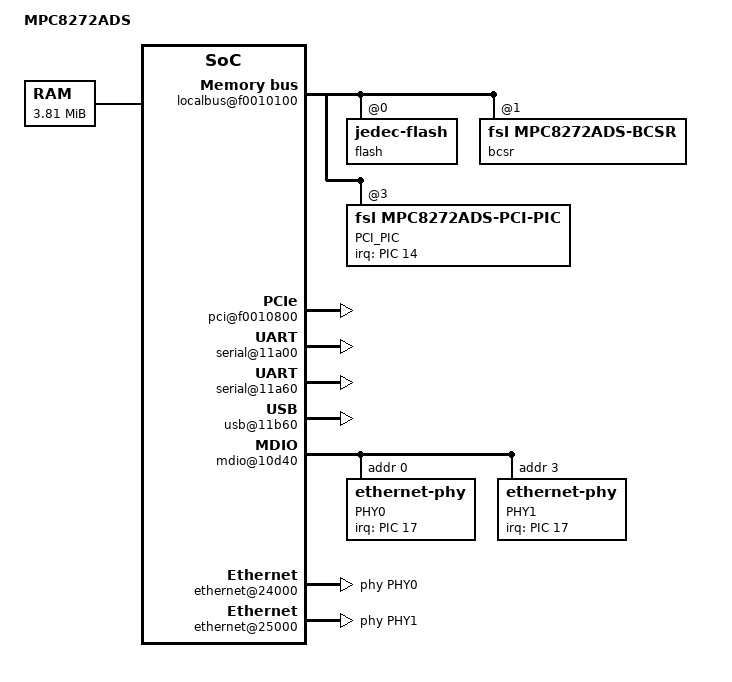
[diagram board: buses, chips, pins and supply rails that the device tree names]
/*
 * MPC8272 ADS Device Tree Source
 *
 * Copyright 2005 Freescale Semiconductor Inc.
 *
 * This program is free software; you can redistribute  it and/or modify it
 * under  the terms of  the GNU General  Public License as published by the
 * Free Software Foundation;  either version 2 of the  License, or (at your
 * option) any later version.
 */

/ {
	model = "MPC8272ADS";
	compatible = "fsl,mpc8272ads";
	#address-cells = <1>;
	#size-cells = <1>;

	cpus {
		#address-cells = <1>;
		#size-cells = <0>;

		PowerPC,8272@0 {
			device_type = "cpu";
			reg = <0>;
			d-cache-line-size = <d#32>;
			i-cache-line-size = <d#32>;
			d-cache-size = <d#16384>;
			i-cache-size = <d#16384>;
			timebase-frequency = <0>;
			bus-frequency = <0>;
			clock-frequency = <0>;
		};
	};

	localbus@f0010100 {
		compatible = "fsl,mpc8272-localbus",
		             "fsl,pq2-localbus";
		#address-cells = <2>;
		#size-cells = <1>;
		reg = <f0010100 40>;

		ranges = <0 0 ff800000 00800000
		          1 0 f4500000 00008000
		          3 0 f8200000 00008000>;

		flash@0,0 {
			compatible = "jedec-flash";
			reg = <0 0 800000>;
			bank-width = <4>;
			device-width = <1>;
			#address-cells = <1>;
			#size-cells = <1>;
			hrcw@0 {
				label = "HRCW";
				reg = <0 40000>;
				read-only;
			};
			user_fs@40000 {
				label = "User FS";
				reg = <40000 5c0000>;
			};
			uimage@600000 {
				label = "uImage";
				reg = <600000 100000>;
			};
			bootloader@700000 {
				label = "bootloader";
				reg = <700000 40000>;
				read-only;
			};
			bootloader_env@740000 {
				label = "bootloader env";
				reg = <740000 c0000>;
				read-only;
			};
		};

		bcsr@1,0 {
			reg = <1 0 20>;
			compatible = "fsl,mpc8272ads-bcsr";
		};

		PCI_PIC: interrupt-controller@3,0 {
			compatible = "fsl,mpc8272ads-pci-pic",
			             "fsl,pq2ads-pci-pic";
			#interrupt-cells = <1>;
			interrupt-controller;
			reg = <3 0 8>;
			interrupt-parent = <&PIC>;
			interrupts = <14 8>;
		};
	};

	memory {
		device_type = "memory";
		reg = <00000000 4000000>;
	};


	pci@f0010800 {
		device_type = "pci";
		reg = <f0010800 10c f00101ac 8 f00101c4 8>;
		compatible = "fsl,mpc8272-pci", "fsl,pq2-pci";
		#interrupt-cells = <1>;
		#size-cells = <2>;
		#address-cells = <3>;
		clock-frequency = <d#66666666>;
		interrupt-map-mask = <f800 0 0 7>;
		interrupt-map = <
		                 /* IDSEL 0x16 */
		                 b000 0 0 1 &PCI_PIC 0
		                 b000 0 0 2 &PCI_PIC 1
		                 b000 0 0 3 &PCI_PIC 2
		                 b000 0 0 4 &PCI_PIC 3

		                 /* IDSEL 0x17 */
		                 b800 0 0 1 &PCI_PIC 4
		                 b800 0 0 2 &PCI_PIC 5
		                 b800 0 0 3 &PCI_PIC 6
		                 b800 0 0 4 &PCI_PIC 7

		                 /* IDSEL 0x18 */
		                 c000 0 0 1 &PCI_PIC 8
		                 c000 0 0 2 &PCI_PIC 9
		                 c000 0 0 3 &PCI_PIC a
		                 c000 0 0 4 &PCI_PIC b>;

		interrupt-parent = <&PIC>;
		interrupts = <12 8>;
		ranges = <42000000 0 80000000 80000000 0 20000000
		          02000000 0 a0000000 a0000000 0 20000000
		          01000000 0 00000000 f6000000 0 02000000>;
	};

	soc@f0000000 {
		#address-cells = <1>;
		#size-cells = <1>;
		device_type = "soc";
		compatible = "fsl,mpc8272", "fsl,pq2-soc";
		ranges = <00000000 f0000000 00053000>;
		reg = <f0000000 10000>;
		bus-frequency = <0>;

		cpm@119c0 {
			#address-cells = <1>;
			#size-cells = <1>;
			device_type = "cpm";
			model = "CPM2";
			brg-frequency = <17D7840>;
			reg = <119c0 30 0 2000>;
			ranges;

			brg@119f0 {
				compatible = "fsl,mpc8272-brg",
				             "fsl,cpm2-brg",
				             "fsl,cpm-brg";
				reg = <119f0 10 115f0 10>;
			};

			serial@11a00 {
				device_type = "serial";
				compatible = "cpm_uart";
				model = "SCC";
				device-id = <1>;
				reg = <11a00 20 8000 100>;
				current-speed = <1c200>;
				interrupts = <28 8>;
				interrupt-parent = <&PIC>;
				clock-setup = <0 00ffffff>;
				rx-clock = <1>;
				tx-clock = <1>;
			};

			serial@11a60 {
				device_type = "serial";
				compatible = "cpm_uart";
				model = "SCC";
				device-id = <4>;
				reg = <11a60 20 8300 100>;
				current-speed = <1c200>;
				interrupts = <2b 8>;
				interrupt-parent = <&PIC>;
				clock-setup = <1b ffffff00>;
				rx-clock = <4>;
				tx-clock = <4>;
			};

			usb@11b60 {
				compatible = "fsl,mpc8272-usb";
				reg = <11b60 ca0 8b00 100>;
				interrupts = <b 8>;
				interrupt-parent = <&PIC>;
				fsl,cpm-brg = <8>;
				fsl,cpm-command = <2e600000>;
			};

			mdio@10d40 {
				device_type = "mdio";
				compatible = "fs_enet";
				reg = <0 1>;
				#address-cells = <1>;
				#size-cells = <0>;
				PHY0: ethernet-phy@0 {
					interrupt-parent = <&PIC>;
					interrupts = <17 4>;
					reg = <0>;
					bitbang = [ 12 12 13 02 02 01 ];
					device_type = "ethernet-phy";
				};

				PHY1: ethernet-phy@1 {
					interrupt-parent = <&PIC>;
					interrupts = <17 4>;
					reg = <3>;
					bitbang = [ 12 12 13 02 02 01 ];
					device_type = "ethernet-phy";
				};
			};

			ethernet@24000 {
				#address-cells = <1>;
				#size-cells = <0>;
				device_type = "network";
				device-id = <1>;
				compatible = "fs_enet";
				model = "FCC";
				reg = <11300 20 8400 100 11380 30>;
				mac-address = [ 00 04 9F 11 23 33 ];
				interrupts = <20 2>;
				interrupt-parent = <&PIC>;
				phy-handle = <&PHY0>;
				rx-clock = <13>;
				tx-clock = <12>;
			};

			ethernet@25000 {
				device_type = "network";
				device-id = <2>;
				compatible = "fs_enet";
				model = "FCC";
				reg = <11320 20 8500 100 113b0 30>;
				mac-address = [ 00 04 9F 11 22 33 ];
				interrupts = <21 2>;
				interrupt-parent = <&PIC>;
				phy-handle = <&PHY1>;
				rx-clock = <17>;
				tx-clock = <18>;
			};
		};

		PIC: interrupt-controller@10c00 {
			#interrupt-cells = <2>;
			interrupt-controller;
			reg = <10c00 80>;
			compatible = "fsl,mpc8272-pic", "fsl,pq2-pic";
		};

  /* May need to remove if on a part without crypto engine */
		crypto@30000 {
			device_type = "crypto";
			model = "SEC2";
			compatible = "fsl,mpc8272-talitos-sec2",
			             "fsl,talitos-sec2",
			             "fsl,talitos",
			             "talitos";
			reg = <30000 10000>;
			interrupts = <b 8>;
			interrupt-parent = <&PIC>;
			num-channels = <4>;
			channel-fifo-len = <18>;
			exec-units-mask = <0000007e>;
  /* desc mask is for rev1.x, we need runtime fixup for >=2.x */
			descriptor-types-mask = <01010ebf>;
		};
	};
};
